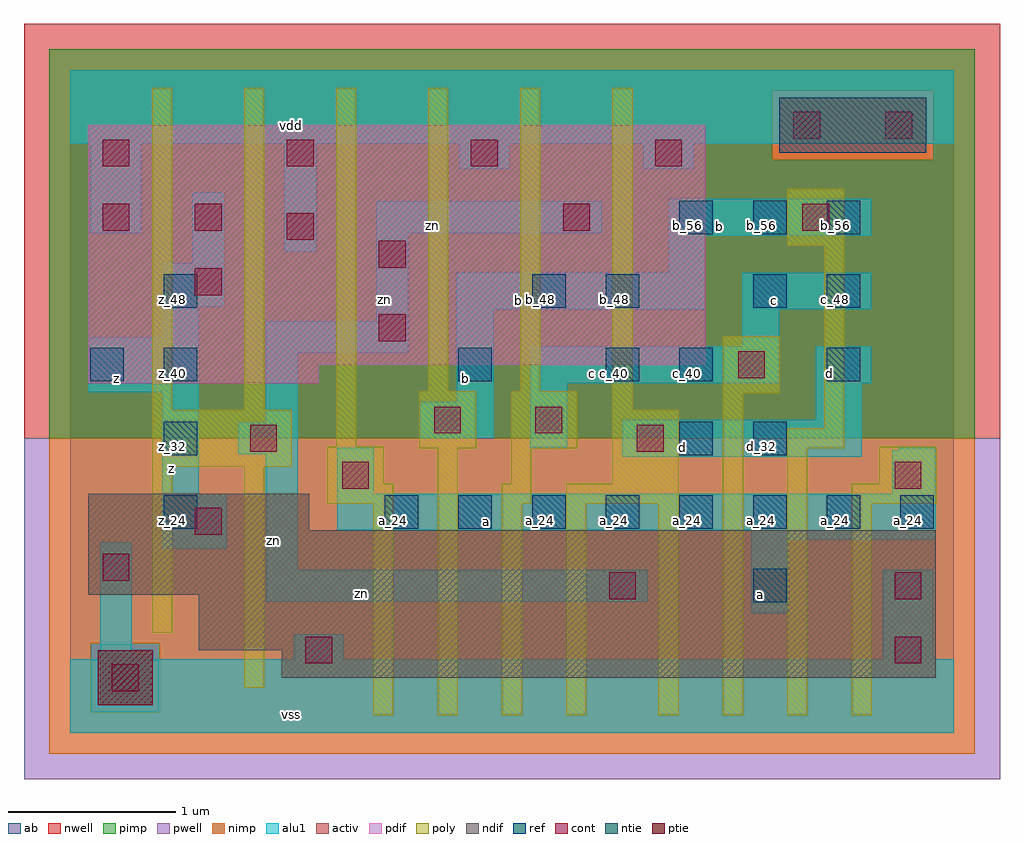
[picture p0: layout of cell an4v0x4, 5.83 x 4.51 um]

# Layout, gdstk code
import gdstk
lib = gdstk.Library(unit=1e-6, precision=2.5e-09)
def R(c, l, rs):  # rectangles x0, y0, x1, y1
    for r in rs: c.add(gdstk.rectangle(r[:2], r[2:], *l))
def A(c, l, x, y, w, h, nx, ny, dx, dy):  # array of equal rectangles
    R(c, l, [(x+i*dx, y+j*dy, x+i*dx+w, y+j*dy+h) for i in range(nx) for j in range(ny)])
ndif = (3, 0)
pdif = (4, 0)
ntie = (5, 0)
ptie = (6, 0)
ref = (24, 0)
cont = (25, 0)
pwell = (41, 0)
nwell = (42, 0)
activ = (43, 0)
pimp = (44, 0)
nimp = (45, 0)
poly = (46, 0)
alu1 = (49, 0)
ab = (63, 0)

an4v0x4 = lib.new_cell('an4v0x4')
R(an4v0x4, ndif, [(1.265,0.33,5.17,0.495), (0.77,0.495,5.17,0.825), (0.11,0.825,5.17,1.21), (0.11,1.21,1.43,1.43)])
R(an4v0x4, pdif, [(0.11,2.09,1.485,2.2), (0.11,2.2,3.795,3.63)])
R(an4v0x4, ntie, [(4.235,3.465,5.115,3.795)])
R(an4v0x4, ptie, [(0.165,0.165,0.495,0.495)])
A(an4v0x4, ref, 4.08, 0.78, 0.2, 0.2, 1, 3, 0, 0.88)
A(an4v0x4, ref, 0.56, 1.22, 0.2, 0.2, 1, 4, 0, 0.44)
A(an4v0x4, ref, 1.88, 1.22, 0.2, 0.2, 8, 1, 0.44, 0)
A(an4v0x4, ref, 3.64, 2.98, 0.2, 0.2, 3, 1, 0.44, 0)
R(an4v0x4, ref, [(3.64,1.66,3.84,1.86), (0.12,2.1,0.32,2.3), (2.32,2.1,2.52,2.3), (3.2,2.1,3.4,2.3), (3.64,2.1,3.84,2.3), (4.52,2.1,4.72,2.3), (2.76,2.54,2.96,2.74), (3.2,2.54,3.4,2.74), (4.52,2.54,4.72,2.74)])
A(an4v0x4, cont, 0.195, 3.385, 0.16, 0.16, 4, 1, 1.1, 0)
R(an4v0x4, cont, [(0.25,0.25,0.41,0.41), (1.405,0.415,1.565,0.575), (4.925,0.415,5.085,0.575), (3.22,0.8,3.38,0.96), (4.925,0.8,5.085,0.96), (0.195,0.91,0.355,1.07), (0.745,1.185,0.905,1.345), (1.625,1.46,1.785,1.62), (4.925,1.46,5.085,1.62), (1.075,1.68,1.235,1.84), (3.385,1.68,3.545,1.84), (2.175,1.79,2.335,1.95), (2.78,1.79,2.94,1.95), (3.99,2.12,4.15,2.28), (1.845,2.34,2.005,2.5), (0.745,2.615,0.905,2.775), (1.845,2.78,2.005,2.94), (1.295,2.945,1.455,3.105), (0.195,3,0.355,3.16), (0.745,3,0.905,3.16), (2.945,3,3.105,3.16), (4.375,3,4.535,3.16), (4.32,3.55,4.48,3.71), (4.87,3.55,5.03,3.71)])
R(an4v0x4, pwell, [(-0.275,-0.275,5.555,1.76)])
R(an4v0x4, nwell, [(-0.275,1.76,5.555,4.235)])
R(an4v0x4, activ, [(0.165,0.165,0.495,0.495), (1.265,0.33,5.17,0.495), (0.77,0.495,5.17,0.825), (0.11,0.825,5.17,1.21), (0.11,1.21,1.43,1.43), (0.11,2.09,1.485,2.2), (0.11,2.2,3.795,3.63), (4.235,3.465,5.115,3.795)])
R(an4v0x4, pimp, [(0.125,0.125,0.535,0.535), (-0.125,1.76,5.405,3.425), (-0.125,3.425,4.195,3.835), (5.155,3.425,5.405,3.835), (-0.125,3.835,5.405,4.085)])
R(an4v0x4, nimp, [(-0.125,-0.125,5.405,0.125), (-0.125,0.125,0.125,0.535), (0.535,0.125,5.405,0.535), (-0.125,0.535,5.405,1.76), (4.195,3.425,5.155,3.835)])
R(an4v0x4, poly, [(1.81,0.105,1.93,1.37), (2.195,0.105,2.315,1.7), (2.58,0.105,2.7,1.37), (2.965,0.105,3.085,1.37), (3.515,0.105,3.635,1.37), (3.9,0.105,4.02,2.03), (4.285,0.105,4.405,1.7), (4.67,0.105,4.79,1.37), (1.04,0.27,1.16,1.59), (0.49,0.6,0.61,1.59), (1.535,1.37,1.93,1.49), (2.58,1.37,2.755,1.49), (2.965,1.37,3.635,1.49), (4.67,1.37,5.175,1.49), (1.535,1.49,1.875,1.71), (2.635,1.49,2.755,1.7), (3.24,1.49,3.635,1.93), (4.835,1.49,5.175,1.71), (0.49,1.59,1.325,1.93), (2.085,1.7,2.425,2.04), (2.635,1.7,3.03,2.04), (4.285,1.7,4.625,1.82), (1.59,1.71,1.71,3.855), (4.505,1.82,4.625,2.91), (0.49,1.93,0.61,3.855), (1.04,1.93,1.16,3.855), (3.24,1.93,3.36,3.855), (3.9,2.03,4.24,2.37), (2.14,2.04,2.26,3.855), (2.69,2.04,2.81,3.855), (4.285,2.91,4.625,3.25)])
R(an4v0x4, alu1, [(0,0,5.28,0.44), (0.18,0.44,0.37,1.14), (1.335,0.44,1.635,0.59), (4.855,0.44,5.155,0.975), (4.07,0.715,4.29,1.155), (1.17,0.785,3.45,0.975), (1.17,0.975,1.36,1.665), (0.55,1.1,0.935,1.43), (4.07,1.155,5.17,1.21), (1.595,1.21,5.17,1.43), (0.55,1.43,0.77,2.035), (1.595,1.43,1.815,1.705), (4.91,1.43,5.17,1.69), (3.3,1.65,4.73,1.87), (1.005,1.665,1.36,1.855), (4.95,1.69,5.17,1.705), (2.75,1.705,2.97,2.09), (2.09,1.76,2.53,1.98), (1.17,1.855,1.36,2.27), (4.455,1.87,4.73,2.09), (2.31,1.98,2.53,2.53), (0.11,2.035,0.77,2.365), (2.75,2.09,4.235,2.31), (4.455,2.09,4.785,2.31), (1.17,2.27,2.02,2.46), (4.015,2.31,4.235,2.53), (0.55,2.365,0.77,2.545), (1.83,2.46,2.02,2.985), (2.31,2.53,3.795,2.75), (4.015,2.53,4.785,2.75), (0.55,2.545,0.92,2.805), (3.575,2.75,3.795,2.97), (0.73,2.805,0.92,3.23), (1.28,2.875,1.47,3.52), (3.575,2.97,4.785,3.19), (0.125,2.985,0.425,3.52), (1.83,2.985,3.175,3.175), (2.325,3.37,2.625,3.52), (3.425,3.37,3.725,3.52), (0,3.52,5.28,3.96)])
R(an4v0x4, ab, [(0,0,5.28,3.96)])
an4v0x4.add(gdstk.Label('vss', (1.32,0.11), layer=49, texttype=0))
an4v0x4.add(gdstk.Label('a', (4.125,0.825), layer=49, texttype=0))
an4v0x4.add(gdstk.Label('zn', (1.74,0.8325), layer=49, texttype=0))
an4v0x4.add(gdstk.Label('a', (2.4875,1.265), layer=49, texttype=0))
an4v0x4.add(gdstk.Label('d', (3.6575,1.705), layer=49, texttype=0))
an4v0x4.add(gdstk.Label('zn', (1.2175,1.1475), layer=49, texttype=0))
an4v0x4.add(gdstk.Label('d', (4.5375,2.145), layer=49, texttype=0))
an4v0x4.add(gdstk.Label('c', (3.12,2.145), layer=49, texttype=0))
an4v0x4.add(gdstk.Label('b', (2.365,2.1175), layer=49, texttype=0))
an4v0x4.add(gdstk.Label('c', (4.2075,2.585), layer=49, texttype=0))
an4v0x4.add(gdstk.Label('b', (2.68,2.585), layer=49, texttype=0))
an4v0x4.add(gdstk.Label('z', (0.605,1.58), layer=49, texttype=0))
an4v0x4.add(gdstk.Label('z', (0.275,2.1175), layer=49, texttype=0))
an4v0x4.add(gdstk.Label('b', (3.8775,3.025), layer=49, texttype=0))
an4v0x4.add(gdstk.Label('zn', (1.8775,2.59), layer=49, texttype=0))
an4v0x4.add(gdstk.Label('zn', (2.165,3.0325), layer=49, texttype=0))
an4v0x4.add(gdstk.Label('vdd', (1.32,3.63), layer=49, texttype=0))
an4v0x4.add(gdstk.Label('a_24', (5.01,1.27), layer=24, texttype=0))
an4v0x4.add(gdstk.Label('b_56', (4.57,3.03), layer=24, texttype=0))
an4v0x4.add(gdstk.Label('c_48', (4.57,2.59), layer=24, texttype=0))
an4v0x4.add(gdstk.Label('d_40', (4.57,2.15), layer=24, texttype=0))
an4v0x4.add(gdstk.Label('a_24', (4.57,1.27), layer=24, texttype=0))
an4v0x4.add(gdstk.Label('b_56', (4.13,3.03), layer=24, texttype=0))
an4v0x4.add(gdstk.Label('c_48', (4.13,2.59), layer=24, texttype=0))
an4v0x4.add(gdstk.Label('d_32', (4.13,1.71), layer=24, texttype=0))
an4v0x4.add(gdstk.Label('a_24', (4.13,1.27), layer=24, texttype=0))
an4v0x4.add(gdstk.Label('a_16', (4.13,0.83), layer=24, texttype=0))
an4v0x4.add(gdstk.Label('b_56', (3.69,3.03), layer=24, texttype=0))
an4v0x4.add(gdstk.Label('c_40', (3.69,2.15), layer=24, texttype=0))
an4v0x4.add(gdstk.Label('d_32', (3.69,1.71), layer=24, texttype=0))
an4v0x4.add(gdstk.Label('a_24', (3.69,1.27), layer=24, texttype=0))
an4v0x4.add(gdstk.Label('b_48', (3.25,2.59), layer=24, texttype=0))
an4v0x4.add(gdstk.Label('c_40', (3.25,2.15), layer=24, texttype=0))
an4v0x4.add(gdstk.Label('a_24', (3.25,1.27), layer=24, texttype=0))
an4v0x4.add(gdstk.Label('b_48', (2.81,2.59), layer=24, texttype=0))
an4v0x4.add(gdstk.Label('a_24', (2.81,1.27), layer=24, texttype=0))
an4v0x4.add(gdstk.Label('b_40', (2.37,2.15), layer=24, texttype=0))
an4v0x4.add(gdstk.Label('a_24', (2.37,1.27), layer=24, texttype=0))
an4v0x4.add(gdstk.Label('z_40', (0.17,2.15), layer=24, texttype=0))
an4v0x4.add(gdstk.Label('a_24', (1.93,1.27), layer=24, texttype=0))
an4v0x4.add(gdstk.Label('z_48', (0.61,2.59), layer=24, texttype=0))
an4v0x4.add(gdstk.Label('z_40', (0.61,2.15), layer=24, texttype=0))
an4v0x4.add(gdstk.Label('z_32', (0.61,1.71), layer=24, texttype=0))
an4v0x4.add(gdstk.Label('z_24', (0.61,1.27), layer=24, texttype=0))

lib.write_gds('an4v0x4.gds')
